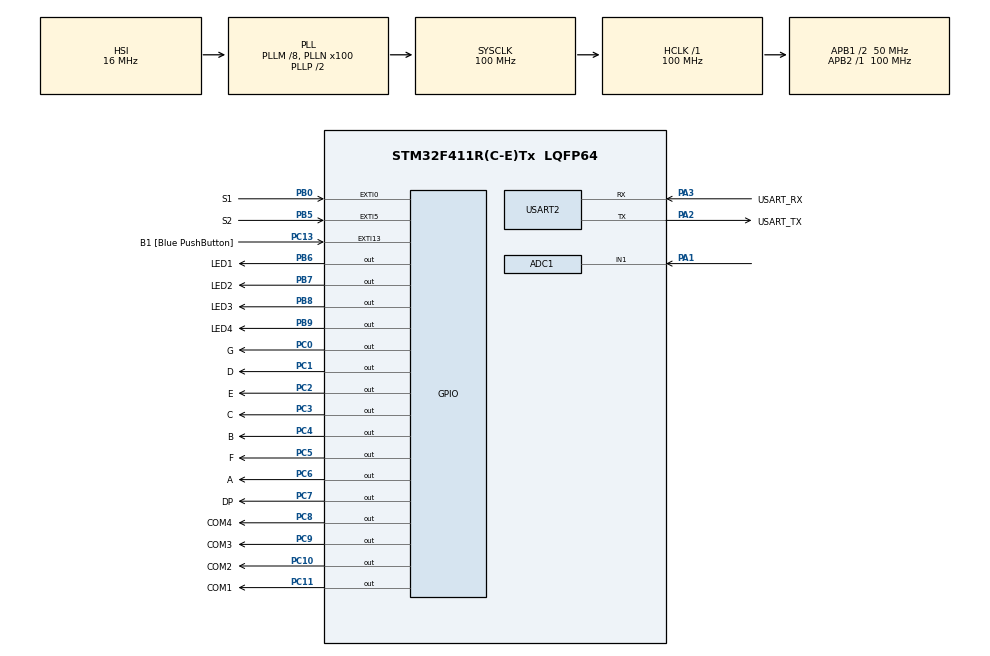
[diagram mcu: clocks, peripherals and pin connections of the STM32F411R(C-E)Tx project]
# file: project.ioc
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ADC1.Channel-0\#ChannelRegularConversion=ADC_CHANNEL_1
ADC1.Channel-1\#ChannelRegularConversion=ADC_CHANNEL_TEMPSENSOR
ADC1.ContinuousConvMode=DISABLE
ADC1.DMAContinuousRequests=ENABLE
ADC1.ExternalTrigConv=ADC_EXTERNALTRIGCONV_T2_TRGO
ADC1.NbrOfConversion=2
ADC1.NbrOfConversionFlag=1
ADC1.Rank-0\#ChannelRegularConversion=1
ADC1.Rank-1\#ChannelRegularConversion=2
ADC1.SamplingTime-0\#ChannelRegularConversion=ADC_SAMPLETIME_480CYCLES
ADC1.SamplingTime-1\#ChannelRegularConversion=ADC_SAMPLETIME_480CYCLES
ADC1.ScanConvMode=ENABLE
ADC1.master=1
Dma.ADC1.0.Direction=DMA_PERIPH_TO_MEMORY
Dma.ADC1.0.FIFOMode=DMA_FIFOMODE_DISABLE
Dma.ADC1.0.Instance=DMA2_Stream0
Dma.ADC1.0.MemDataAlignment=DMA_MDATAALIGN_HALFWORD
Dma.ADC1.0.MemInc=DMA_MINC_ENABLE
Dma.ADC1.0.Mode=DMA_CIRCULAR
Dma.ADC1.0.PeriphDataAlignment=DMA_PDATAALIGN_HALFWORD
Dma.ADC1.0.PeriphInc=DMA_PINC_DISABLE
Dma.ADC1.0.Priority=DMA_PRIORITY_LOW
Dma.Request0=ADC1
Mcu.Family=STM32F4
Mcu.Name=STM32F411R(C-E)Tx
Mcu.Package=LQFP64
NVIC.ADC_IRQn=true\:0\:0\:false\:false\:true\:true\:true
NVIC.DMA2_Stream0_IRQn=true\:0\:0\:false\:false\:true\:false\:true
NVIC.EXTI0_IRQn=true\:0\:0\:false\:false\:true\:true\:true
NVIC.EXTI9_5_IRQn=true\:0\:0\:false\:false\:true\:true\:true
NVIC.PriorityGroup=NVIC_PRIORITYGROUP_0
NVIC.TIM1_UP_TIM10_IRQn=true\:0\:0\:false\:false\:true\:true\:true
NVIC.TIM2_IRQn=true\:0\:0\:false\:false\:true\:true\:true
NVIC.USART2_IRQn=true\:0\:0\:false\:false\:true\:true\:true
PA1.Signal=ADCx_IN1
PA13.GPIO_Label=TMS
PA13.Mode=Serial_Wire
PA13.Signal=SYS_JTMS-SWDIO
PA14.GPIO_Label=TCK
PA14.Mode=Serial_Wire
PA14.Signal=SYS_JTCK-SWCLK
PA2.GPIO_Label=USART_TX
PA2.Mode=Asynchronous
PA2.Signal=USART2_TX
PA3.GPIO_Label=USART_RX
PA3.Mode=Asynchronous
PA3.Signal=USART2_RX
PB0.GPIO_Label=S1
PB0.GPIO_PuPd=GPIO_PULLUP
PB0.Signal=GPXTI0
PB3.GPIO_Label=SWO
PB3.Signal=SYS_JTDO-SWO
PB5.GPIO_Label=S2
PB5.GPIO_PuPd=GPIO_PULLUP
PB5.Signal=GPXTI5
PB6.GPIO_Label=LED1
PB6.GPIO_PuPd=GPIO_PULLUP
PB6.Signal=GPIO_Output
PB7.GPIO_Label=LED2
PB7.GPIO_PuPd=GPIO_PULLUP
PB7.Signal=GPIO_Output
PB8.GPIO_Label=LED3
PB8.GPIO_PuPd=GPIO_PULLUP
PB8.Signal=GPIO_Output
PB9.GPIO_Label=LED4
PB9.GPIO_PuPd=GPIO_PULLUP
PB9.Signal=GPIO_Output
PC0.GPIO_Label=G
PC0.Signal=GPIO_Output
PC1.GPIO_Label=D
PC1.Signal=GPIO_Output
PC10.GPIO_Label=COM2
PC10.Signal=GPIO_Output
PC11.GPIO_Label=COM1
PC11.Signal=GPIO_Output
PC13-ANTI_TAMP.GPIO_Label=B1 [Blue PushButton]
PC13-ANTI_TAMP.GPIO_ModeDefaultEXTI=GPIO_MODE_IT_FALLING
PC13-ANTI_TAMP.Signal=GPXTI13
PC14-OSC32_IN.Mode=LSE-External-Oscillator
PC14-OSC32_IN.Signal=RCC_OSC32_IN
PC15-OSC32_OUT.Mode=LSE-External-Oscillator
PC15-OSC32_OUT.Signal=RCC_OSC32_OUT
PC2.GPIO_Label=E
PC2.Signal=GPIO_Output
PC3.GPIO_Label=C
PC3.Signal=GPIO_Output
PC4.GPIO_Label=B
PC4.Signal=GPIO_Output
PC5.GPIO_Label=F
PC5.Signal=GPIO_Output
PC6.GPIO_Label=A
PC6.Signal=GPIO_Output
PC7.GPIO_Label=DP
PC7.Signal=GPIO_Output
PC8.GPIO_Label=COM4
PC8.Signal=GPIO_Output
PC9.GPIO_Label=COM3
PC9.Signal=GPIO_Output
PH0\ -\ OSC_IN.Mode=HSE-External-Clock-Source
PH0\ -\ OSC_IN.Signal=RCC_OSC_IN
PH1\ -\ OSC_OUT.Mode=HSE-External-Clock-Source
PH1\ -\ OSC_OUT.Signal=RCC_OSC_OUT
ProjectManager.HeapSize=0x200
ProjectManager.StackSize=0x400
ProjectManager.TargetToolchain=STM32CubeIDE
RCC.48MHZClocksFreq_Value=50000000
RCC.AHBFreq_Value=100000000
RCC.APB1CLKDivider=RCC_HCLK_DIV2
RCC.APB1Freq_Value=50000000
RCC.APB1TimFreq_Value=100000000
RCC.APB2Freq_Value=100000000
RCC.APB2TimFreq_Value=100000000
RCC.CortexFreq_Value=100000000
RCC.FLatency-AdvancedSettings=FLASH_LATENCY_3
RCC.HCLKFreq_Value=100000000
RCC.HSE_VALUE=8000000
RCC.HSI_VALUE=16000000
RCC.PLLM=8
RCC.PLLN=100
RCC.SYSCLKFreq_VALUE=100000000
RCC.SYSCLKSource=RCC_SYSCLKSOURCE_PLLCLK
RCC.VCOOutputFreq_Value=200000000
SH.ADCx_IN1.0=ADC1_IN1,IN1
TIM1.Period=99
TIM1.Prescaler=999
TIM2.Period=999
TIM2.Prescaler=999
TIM2.TIM_MasterOutputTrigger=TIM_TRGO_UPDATE
USART2.VirtualMode=VM_ASYNC
VP_ADC1_TempSens_Input.Mode=IN-TempSens
VP_TIM1_VS_ClockSourceINT.Mode=Internal
VP_TIM2_VS_ClockSourceINT.Mode=Internal
board=NUCLEO-F411RE

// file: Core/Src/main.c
/* USER CODE BEGIN Header */
/**
  ******************************************************************************
  * @file           : main.c
  * @brief          : Main program body
  ******************************************************************************
  * @attention
  *
  * Copyright (c) 2022 STMicroelectronics.
  * All rights reserved.
  *
  * This software is licensed under terms that can be found in the LICENSE file
  * in the root directory of this software component.
  * If no LICENSE file comes with this software, it is provided AS-IS.
  *
  ******************************************************************************
  */
/* USER CODE END Header */
#include "main.h"
#include "adc.h"
#include "dma.h"
#include "tim.h"
#include "usart.h"
#include "gpio.h"

/* USER CODE BEGIN Includes */
#include "function.h"
#include "stdio.h"

/* USER CODE END Includes */

/* USER CODE BEGIN PV */
uint16_t ADCDMABuff[2];
/* USER CODE END PV */

void SystemClock_Config(void);

/* USER CODE BEGIN 0 */
int __io_putchar(int ch) {
	HAL_UART_Transmit(&huart2, (uint8_t *)&ch, 1, 0xFFFF);
return ch;
}

uint32_t ADCRes;
uint32_t fotorezystor;
uint32_t temperatura;

volatile uint8_t RXdata;
/* USER CODE END 0 */

int main(void)
{

  /* MCU Configuration--------------------------------------------------------*/

  /* Reset of all peripherals, Initializes the Flash interface and the Systick. */
  HAL_Init();

  /* Configure the system clock */
  SystemClock_Config();

  /* Initialize all configured peripherals */
  MX_GPIO_Init();
  MX_USART2_UART_Init();
  MX_DMA_Init();
  MX_TIM1_Init();
  MX_ADC1_Init();
  MX_TIM2_Init();
  /* USER CODE BEGIN 2 */
  HAL_TIM_Base_Start_IT(&htim1);
  HAL_ADC_Start_DMA(&hadc1, (uint32_t *)ADCDMABuff, 2);
  HAL_TIM_Base_Start_IT(&htim2);

  HAL_UART_Receive_IT(&huart2, &RXdata, 1);
  /* USER CODE END 2 */

  /* Infinite loop */
  /* USER CODE BEGIN WHILE */

  while (1)
  {
//	  	ADCRes = HAL_ADC_GetValue(&hadc1);                    // 0-4095 == 0-3.3V
//	  	fotorezystor = ADCDMABuff[0];
//	  	fotorezystor = (uint16_t)(3.3 * (double)fotorezystor / 4.095);    // [mV]

    /* USER CODE END WHILE */

  }
}

void SystemClock_Config(void)
{
  RCC_OscInitTypeDef RCC_OscInitStruct = {0};
  RCC_ClkInitTypeDef RCC_ClkInitStruct = {0};

  /** Configure the main internal regulator output voltage
  */
  __HAL_RCC_PWR_CLK_ENABLE();
  __HAL_PWR_VOLTAGESCALING_CONFIG(PWR_REGULATOR_VOLTAGE_SCALE1);
  /** Initializes the RCC Oscillators according to the specified parameters
  * in the RCC_OscInitTypeDef structure.
  */
  RCC_OscInitStruct.OscillatorType = RCC_OSCILLATORTYPE_HSI;
  RCC_OscInitStruct.HSIState = RCC_HSI_ON;
  RCC_OscInitStruct.HSICalibrationValue = RCC_HSICALIBRATION_DEFAULT;
  RCC_OscInitStruct.PLL.PLLState = RCC_PLL_ON;
  RCC_OscInitStruct.PLL.PLLSource = RCC_PLLSOURCE_HSI;
  RCC_OscInitStruct.PLL.PLLM = 8;
  RCC_OscInitStruct.PLL.PLLN = 100;
  RCC_OscInitStruct.PLL.PLLP = RCC_PLLP_DIV2;
  RCC_OscInitStruct.PLL.PLLQ = 4;
  if (HAL_RCC_OscConfig(&RCC_OscInitStruct) != HAL_OK)
  {
    Error_Handler();
  }
  /** Initializes the CPU, AHB and APB buses clocks
  */
  RCC_ClkInitStruct.ClockType = RCC_CLOCKTYPE_HCLK|RCC_CLOCKTYPE_SYSCLK
                              |RCC_CLOCKTYPE_PCLK1|RCC_CLOCKTYPE_PCLK2;
  RCC_ClkInitStruct.SYSCLKSource = RCC_SYSCLKSOURCE_PLLCLK;
  RCC_ClkInitStruct.AHBCLKDivider = RCC_SYSCLK_DIV1;
  RCC_ClkInitStruct.APB1CLKDivider = RCC_HCLK_DIV2;
  RCC_ClkInitStruct.APB2CLKDivider = RCC_HCLK_DIV1;

  if (HAL_RCC_ClockConfig(&RCC_ClkInitStruct, FLASH_LATENCY_3) != HAL_OK)
  {
    Error_Handler();
  }
}

/* USER CODE BEGIN 4 */
int nadawaj = 1;
void HAL_ADC_ConvCpltCallback(ADC_HandleTypeDef* hadc)
{

//	ADCRes = HAL_ADC_GetValue(&hadc1);                    // 0-4095 == 0-3.3V
	fotorezystor = ADCDMABuff[0];
	fotorezystor = (uint16_t)(3.3 * (double)fotorezystor / 4.095);    // [mV]

	temperatura = ((uint16_t)(3.3 * (double)ADCDMABuff[1] / 4.095) - 500) / 10;
}

void HAL_UART_RxCpltCallback(UART_HandleTypeDef *huart)
{

	if(RXdata == 's')
	{
		printf("Fotorezystor: %d\r\n",(int)fotorezystor);
		nadawaj = 0;
	}
	else if(RXdata == 't')
	{
		printf("Temperatura: %d\r\n",(int)temperatura);
		nadawaj = 0;
	}
	else if(RXdata == 'a')
	{
//		printf("Fotorezystor: %d\tTemperatura: %d\r\n", (int)fotorezystor, (int)temperatura);
		nadawaj = 1;
	}

	HAL_UART_Receive_IT(&huart2, &RXdata, 1);

}

//void HAL_UART_TxCpltCallback(UART_HandleTypeDef *huart){
//	printf("Fotorezystor: %d\tTemperatura: %d\r\n", (int)fotorezystor, (int)temperatura);
////	HAL_UART_Transmit_IT(huart, pData, Size)
//}

/* USER CODE END 4 */

void Error_Handler(void)
{
  __disable_irq();
  while (1)
  {
  }
}
